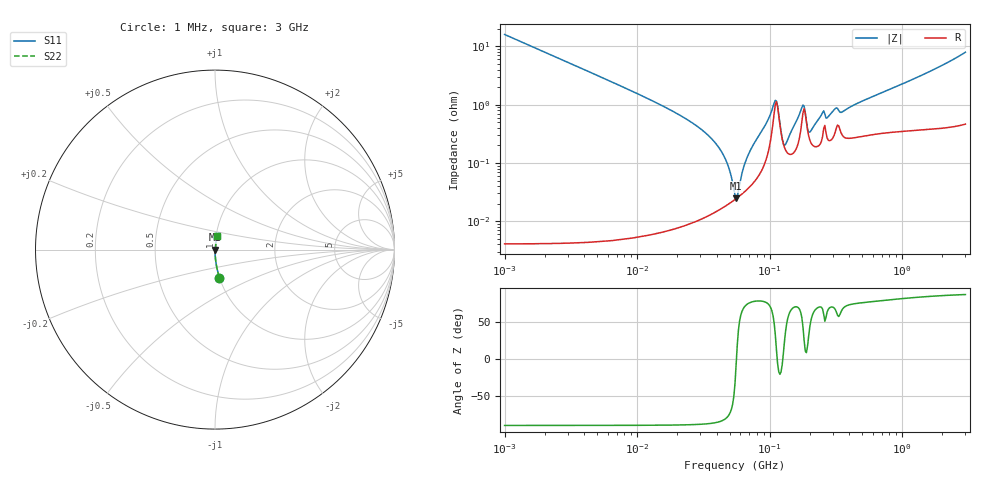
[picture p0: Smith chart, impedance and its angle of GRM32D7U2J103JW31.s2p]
!Murata Part Number: GRM32D7U2J103JW31
!These Parameters are Measured in Series Mode Connection
!Data Generated on Mar 30, 2021
!  o--ll--o
!Port1  Port2
!  o------o
!Operation Temp=25[degC], DC Bias Voltage=0[V]
!Freq. Start=1000[kHz] Stop=3[GHz] 401[Steps]
# Hz S RI R 50
!Freq.(Hz) S11(Real) S11(Imag) S21(Real) S21(Imag) S12(Real) S12(Imag) S22(Real) S22(Imag)
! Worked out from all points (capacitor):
!   401 points, 1 MHz to 3 GHz, reference 50 ohm
!   read as one part in series: C = 9.94 nF near 1.041 MHz
!   lowest |Z| = 24.7 mohm at 55.88 MHz (marker M1)
!   series resonance near 56.2 MHz, so ESL is about 810 pH
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1000000  0.025 -0.156  0.975 0.156  0.975 0.156  0.025 -0.156
3823119  0.00178 -0.0416  0.9982 0.0416  0.9982 0.0416  0.00178 -0.0416
1.461624e7  0.000168 -0.0102  0.9998 0.0102  0.9998 0.0102  0.000168 -0.0102
2.664524e7  0.000118 -0.00471  0.9999 0.00471  0.9999 0.00471  0.000118 -0.00471
3.820236e7  0.000146 -0.00232  0.9999 0.00232  0.9999 0.00232  0.000146 -0.00232
4.761141e7  0.00019 -0.000994  0.9998 0.000994  0.9998 0.000994  0.00019 -0.000994
5.477226e7  0.000236 -0.000156  0.9998 0.000156  0.9998 0.000156  0.000236 -0.000156
5.587962e7  0.000244 -3.43e-05  0.9998 3.43e-05  0.9998 3.43e-05  0.000244 -3.43e-05
6.826239e7  0.000361 0.00126  0.9996 -0.00126  0.9996 -0.00126  0.000361 0.00126
9.593103e7  0.00136 0.00497  0.9986 -0.00497  0.9986 -0.00497  0.00136 0.00497
1.081723e8  0.00716 0.00785  0.9928 -0.00785  0.9928 -0.00785  0.00716 0.00785
1.148668e8  0.00918 -0.00107  0.9908 0.00107  0.9908 0.00107  0.00918 -0.00107
1.244416e8  0.00256 -0.000345  0.9974 0.000345  0.9974 0.000345  0.00256 -0.000345
1.295243e8  0.00183 0.000819  0.9982 -0.000819  0.9982 -0.000819  0.00183 0.000819
1.748812e8  0.00504 0.00729  0.995 -0.00729  0.995 -0.00729  0.00504 0.00729
1.820241e8  0.00851 0.00393  0.9915 -0.00393  0.9915 -0.00393  0.00851 0.00393
1.971969e8  0.00289 0.00175  0.9971 -0.00175  0.9971 -0.00175  0.00289 0.00175
2.094008e8  0.00206 0.00327  0.9979 -0.00327  0.9979 -0.00327  0.00206 0.00327
2.507343e8  0.00287 0.00668  0.9971 -0.00668  0.9971 -0.00668  0.00287 0.00668
3.523638e8  0.00306 0.0068  0.9969 -0.0068  0.9969 -0.0068  0.00306 0.0068
8.005644e8  0.00363 0.0178  0.9964 -0.0178  0.9964 -0.0178  0.00363 0.0178
3e9  0.0108 0.0779  0.9892 -0.0779  0.9892 -0.0779  0.0108 0.0779
